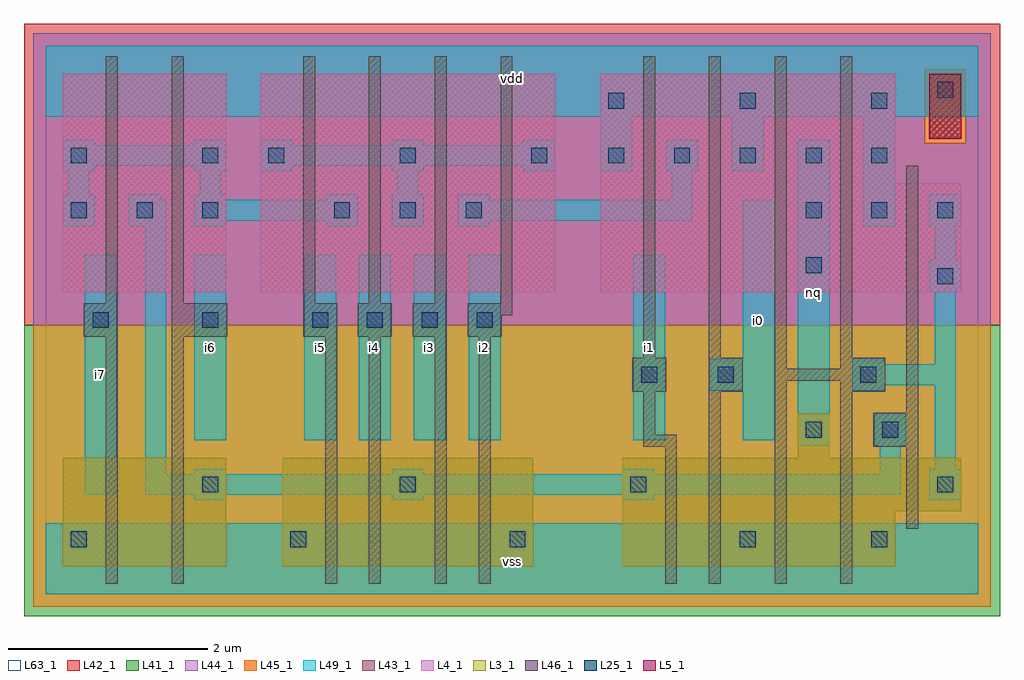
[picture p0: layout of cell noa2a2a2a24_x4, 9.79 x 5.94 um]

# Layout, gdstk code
import gdstk
lib = gdstk.Library(unit=1e-6, precision=1e-09)
def R(c, l, rs):  # rectangles x0, y0, x1, y1
    for r in rs: c.add(gdstk.rectangle(r[:2], r[2:], *l))
def A(c, l, x, y, w, h, nx, ny, dx, dy):  # array of equal rectangles
    R(c, l, [(x+i*dx, y+j*dy, x+i*dx+w, y+j*dy+h) for i in range(nx) for j in range(ny)])
L3_1 = (3, 1)
L4_1 = (4, 1)
L5_1 = (5, 1)
L25_1 = (25, 1)
L41_1 = (41, 1)
L42_1 = (42, 1)
L43_1 = (43, 1)
L44_1 = (44, 1)
L45_1 = (45, 1)
L46_1 = (46, 1)
L49_1 = (49, 1)
L63_1 = (63, 1)

noa2a2a2a24_x4 = lib.new_cell('noa2a2a2a24_x4')
R(noa2a2a2a24_x4, L3_1, [(0.17,0.28,1.81,1.37), (2.37,0.28,4.89,1.37), (5.78,0.28,8.52,0.83), (5.78,0.83,9.18,1.37), (7.54,1.37,7.86,1.81)])
R(noa2a2a2a24_x4, L4_1, [(0.17,3.03,1.81,5.22), (2.15,3.03,5.11,5.22), (5.56,3.03,9.18,4.12), (5.56,4.12,8.52,5.22)])
R(noa2a2a2a24_x4, L5_1, [(8.86,4.57,9.18,5.22)])
A(noa2a2a2a24_x4, L25_1, 0.25, 0.47, 0.16, 0.16, 3, 1, 2.2, 0)
A(noa2a2a2a24_x4, L25_1, 0.47, 2.67, 0.16, 0.16, 3, 1, 1.1, 0)
A(noa2a2a2a24_x4, L25_1, 3.22, 2.67, 0.16, 0.16, 3, 1, 0.55, 0)
A(noa2a2a2a24_x4, L25_1, 0.25, 3.77, 0.16, 0.16, 3, 1, 0.66, 0)
A(noa2a2a2a24_x4, L25_1, 2.89, 3.77, 0.16, 0.16, 3, 1, 0.66, 0)
A(noa2a2a2a24_x4, L25_1, 7.62, 3.77, 0.16, 0.16, 3, 1, 0.66, 0)
A(noa2a2a2a24_x4, L25_1, 2.23, 4.32, 0.16, 0.16, 3, 1, 1.32, 0)
A(noa2a2a2a24_x4, L25_1, 5.64, 4.32, 0.16, 0.16, 5, 1, 0.66, 0)
A(noa2a2a2a24_x4, L25_1, 5.64, 4.87, 0.16, 0.16, 3, 1, 1.32, 0)
R(noa2a2a2a24_x4, L25_1, [(6.96,0.47,7.12,0.63), (8.28,0.47,8.44,0.63), (1.57,1.02,1.73,1.18), (3.55,1.02,3.71,1.18), (5.86,1.02,6.02,1.18), (8.94,1.02,9.1,1.18), (7.62,1.57,7.78,1.73), (8.39,1.57,8.55,1.73), (5.97,2.12,6.13,2.28), (6.74,2.12,6.9,2.28), (8.17,2.12,8.33,2.28), (8.94,3.11,9.1,3.27), (7.62,3.22,7.78,3.38), (0.25,4.32,0.41,4.48), (1.57,4.32,1.73,4.48), (8.94,4.98,9.1,5.14)])
R(noa2a2a2a24_x4, L41_1, [(-0.22,-0.22,9.57,2.695)])
R(noa2a2a2a24_x4, L42_1, [(-0.22,2.695,9.57,5.72)])
R(noa2a2a2a24_x4, L43_1, [(0.17,0.28,1.81,1.37), (2.37,0.28,4.89,1.37), (5.78,0.28,8.52,0.83), (5.78,0.83,9.18,1.37), (7.54,1.37,7.86,1.81), (0.17,3.03,1.81,5.22), (2.15,3.03,5.11,5.22), (5.56,3.03,9.18,4.12), (5.56,4.12,8.52,5.22), (8.86,4.57,9.18,5.22)])
R(noa2a2a2a24_x4, L44_1, [(-0.125,2.695,9.475,4.525), (-0.125,4.525,8.815,5.265), (9.225,4.525,9.475,5.265), (-0.125,5.265,9.475,5.625)])
R(noa2a2a2a24_x4, L45_1, [(-0.125,-0.125,9.475,2.695), (8.815,4.525,9.225,5.265)])
A(noa2a2a2a24_x4, L46_1, 2.58, 2.58, 0.34, 0.34, 3, 1, 0.55, 0)
A(noa2a2a2a24_x4, L46_1, 2.58, 2.92, 0.12, 2.475, 4, 1, 0.66, 0)
R(noa2a2a2a24_x4, L46_1, [(0.6,0.105,0.72,2.58), (1.26,0.105,1.38,2.58), (2.8,0.105,2.92,2.58), (3.24,0.105,3.36,2.58), (3.9,0.105,4.02,2.58), (4.34,0.105,4.46,2.58), (6.21,0.105,6.33,1.48), (6.65,0.105,6.77,2.03), (7.31,0.105,7.43,2.14), (7.97,0.105,8.09,2.03), (8.63,0.655,8.75,1.48), (5.99,1.48,6.33,1.6), (8.3,1.48,8.75,1.82), (5.99,1.6,6.11,2.03), (8.63,1.82,8.75,4.295), (5.88,2.03,6.22,2.37), (6.65,2.03,6.99,2.37), (7.97,2.03,8.42,2.14), (7.31,2.14,8.42,2.26), (7.31,2.26,7.43,5.395), (7.97,2.26,8.42,2.37), (5.99,2.37,6.11,5.395), (6.65,2.37,6.77,5.395), (7.97,2.37,8.09,5.395), (0.38,2.58,0.72,2.92), (1.26,2.58,1.82,2.92), (4.23,2.58,4.57,2.8), (4.23,2.8,4.68,2.92), (0.6,2.92,0.72,5.395), (1.26,2.92,1.38,5.395)])
A(noa2a2a2a24_x4, L49_1, 2.59, 1.545, 0.32, 1.86, 4, 1, 0.55, 0)
A(noa2a2a2a24_x4, L49_1, 1.49, 3.69, 0.32, 0.055, 3, 2, 1.32, 0.265)
A(noa2a2a2a24_x4, L49_1, 2.15, 4.24, 0.32, 0.055, 3, 2, 1.32, 0.265)
R(noa2a2a2a24_x4, L49_1, [(0,0,9.35,0.71), (1.49,0.94,1.81,0.995), (3.47,0.94,3.79,0.995), (5.78,0.94,6.1,0.995), (8.86,0.94,9.18,1.26), (0.39,0.995,0.71,3.405), (0.995,0.995,8.575,1.205), (0.995,1.205,1.205,3.69), (1.49,1.205,1.81,1.26), (3.47,1.205,3.79,1.26), (5.78,1.205,6.1,1.26), (8.365,1.205,8.575,1.49), (8.915,1.26,9.125,2.095), (7.54,1.49,7.86,4.56), (8.31,1.49,8.63,1.81), (1.49,1.545,1.81,3.405), (5.89,1.545,6.21,3.405), (6.99,1.545,7.31,2.04), (6.66,2.04,7.31,2.36), (8.09,2.04,8.41,2.095), (8.09,2.095,9.125,2.305), (8.09,2.305,8.41,2.36), (8.915,2.305,9.125,3.03), (6.99,2.36,7.31,3.955), (8.86,3.03,9.18,3.35), (8.915,3.35,9.125,3.69), (0.17,3.69,0.49,4.01), (0.83,3.69,1.205,3.955), (3.47,3.69,3.79,4.01), (8.2,3.69,8.52,4.79), (8.86,3.69,9.18,4.01), (1.49,3.745,3.13,3.955), (4.13,3.745,6.485,3.955), (0.83,3.955,1.15,4.01), (6.275,3.955,6.485,4.24), (0.225,4.01,0.435,4.24), (1.545,4.01,1.755,4.24), (3.525,4.01,3.735,4.24), (0.17,4.24,0.49,4.295), (1.49,4.24,1.81,4.295), (5.56,4.24,5.88,4.79), (6.22,4.24,6.54,4.56), (6.88,4.24,7.2,4.79), (0.17,4.295,1.81,4.505), (2.15,4.295,5.11,4.505), (0.17,4.505,0.49,4.56), (1.49,4.505,1.81,4.56), (0,4.79,9.35,5.5)])
R(noa2a2a2a24_x4, L63_1, [(0,0,9.35,5.5)])
noa2a2a2a24_x4.add(gdstk.Label('i7', (0.55,2.2), layer=49, texttype=1))
noa2a2a2a24_x4.add(gdstk.Label('i7', (0.55,2.2), layer=49, texttype=1))
noa2a2a2a24_x4.add(gdstk.Label('i6', (1.65,2.475), layer=49, texttype=1))
noa2a2a2a24_x4.add(gdstk.Label('i6', (1.65,2.475), layer=49, texttype=1))
noa2a2a2a24_x4.add(gdstk.Label('i4', (3.3,2.475), layer=49, texttype=1))
noa2a2a2a24_x4.add(gdstk.Label('i5', (2.75,2.475), layer=49, texttype=1))
noa2a2a2a24_x4.add(gdstk.Label('i4', (3.3,2.475), layer=49, texttype=1))
noa2a2a2a24_x4.add(gdstk.Label('i5', (2.75,2.475), layer=49, texttype=1))
noa2a2a2a24_x4.add(gdstk.Label('vss', (4.675,0.33), layer=49, texttype=1))
noa2a2a2a24_x4.add(gdstk.Label('vss', (4.675,0.33), layer=49, texttype=1))
noa2a2a2a24_x4.add(gdstk.Label('i3', (3.85,2.475), layer=49, texttype=1))
noa2a2a2a24_x4.add(gdstk.Label('i3', (3.85,2.475), layer=49, texttype=1))
noa2a2a2a24_x4.add(gdstk.Label('i2', (4.4,2.475), layer=49, texttype=1))
noa2a2a2a24_x4.add(gdstk.Label('i2', (4.4,2.475), layer=49, texttype=1))
noa2a2a2a24_x4.add(gdstk.Label('vdd', (4.675,5.17), layer=49, texttype=1))
noa2a2a2a24_x4.add(gdstk.Label('vdd', (4.675,5.17), layer=49, texttype=1))
noa2a2a2a24_x4.add(gdstk.Label('i0', (7.15,2.75), layer=49, texttype=1))
noa2a2a2a24_x4.add(gdstk.Label('i1', (6.05,2.475), layer=49, texttype=1))
noa2a2a2a24_x4.add(gdstk.Label('i1', (6.05,2.475), layer=49, texttype=1))
noa2a2a2a24_x4.add(gdstk.Label('i0', (7.15,2.75), layer=49, texttype=1))
noa2a2a2a24_x4.add(gdstk.Label('nq', (7.7,3.025), layer=49, texttype=1))
noa2a2a2a24_x4.add(gdstk.Label('nq', (7.7,3.025), layer=49, texttype=1))

lib.write_gds('noa2a2a2a24_x4.gds')
